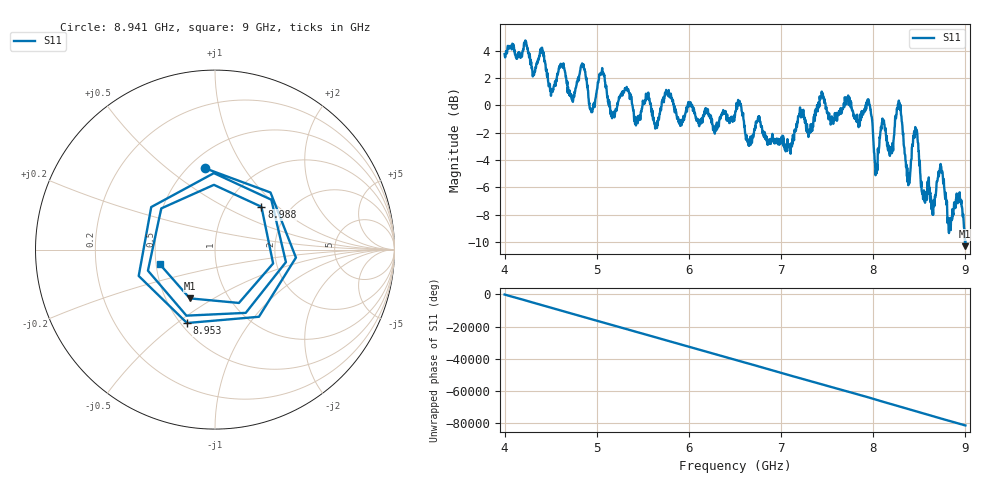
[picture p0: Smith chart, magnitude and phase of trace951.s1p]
! Created with skrf 1.8.0 (http://scikit-rf.org).
# Hz S RI R 50.0
!freq ReS11 ImS11
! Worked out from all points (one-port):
!   1601 points, 4 GHz to 9 GHz, reference 50 ohm
!   lowest |S11| = -10.3 dB at 8.997 GHz (marker M1), VSWR 1.88, Z = 33 - j19.8 ohm
!   |S11| at or under -10 dB: 8.995405 GHz to 8.999473 GHz (4.068 MHz wide, 0.0452 % of centre)
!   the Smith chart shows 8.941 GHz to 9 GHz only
!   S11 on the Smith chart (normalised r, x): 8.941 GHz: 0.60, +0.69; 8.953 GHz: 0.54, -0.54; 8.988 GHz: 1.44, +0.79; 9 GHz: 0.52, -0.09
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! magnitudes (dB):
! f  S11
! 4 GHz  3.7
! 4.403 GHz  4.0
! 4.506 GHz  0.9
! 4.625 GHz  3.0
! 4.734 GHz  0.5
! 4.85 GHz  2.9
! 4.941 GHz  -0.5
! 5.05 GHz  2.4
! 5.172 GHz  -0.5
! 5.25 GHz  0.7
! 5.875 GHz  -1.0
! 6.5 GHz  -0.8
! 7.125 GHz  -2.8
! 7.444 GHz  0.8
! 7.75 GHz  0.2
! 7.953 GHz  0.3
! 8.034 GHz  -4.7
! 8.281 GHz  0.1
! 8.375 GHz  -5.5
! 8.459 GHz  -1.8
! 8.556 GHz  -7.0
! 8.731 GHz  -4.3
! 8.831 GHz  -9.0
! 8.941 GHz  -6.8
! 8.953 GHz  -7.2
! 8.988 GHz  -9.1
! 8.997 GHz  -10.3
! 9 GHz  -9.9
